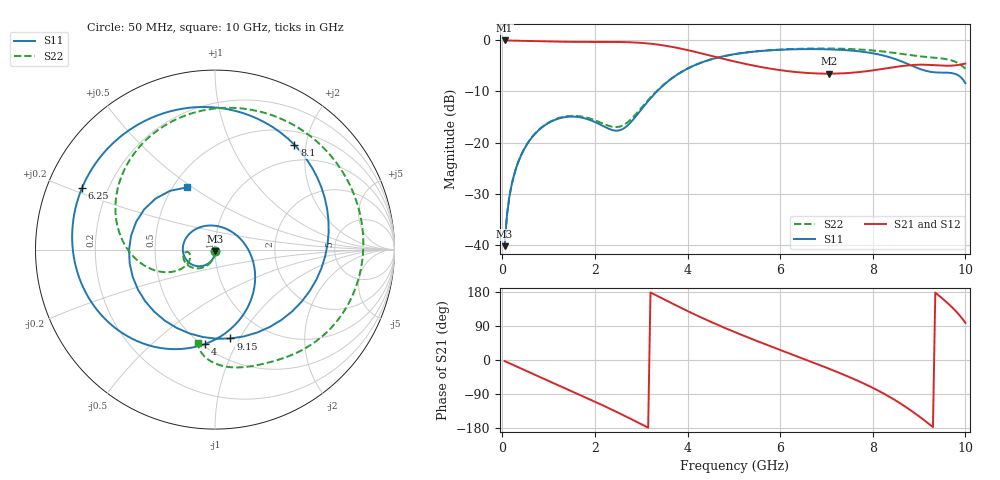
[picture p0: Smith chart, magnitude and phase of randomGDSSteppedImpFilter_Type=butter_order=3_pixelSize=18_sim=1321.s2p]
! freq	dB(S11)	phase(S11)	dB(S12)	phase(S12)
!  dB(S21)	phase(S21)	dB(S22)	phase(S22)
!S-par simulation data
#  GHz  S  DB  R 50
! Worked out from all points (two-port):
!   200 points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, 50 MHz to 10 GHz, reference 50 ohm
!   highest |S21| = -0.02 dB at 50 MHz (marker M1); lowest = -6.5 dB at 7.05 GHz (marker M2)
!   |S21| within 3 dB of the highest: start of sweep to 4.509 GHz
!   lowest |S11| = -40.3 dB at 50 MHz (marker M3), VSWR 1.02, Z = 50.1 - j0.966 ohm
!   |S11| at or under -10 dB: start of sweep to 3.34 GHz
!   |S22| runs from -40.3 to -1.6 dB; largest |S21 - S12| = 0
!   S11 on the Smith chart (normalised r, x): 50 MHz: 1.00, -0.02; 4 GHz: 0.52, -0.76; 6.25 GHz: 0.11, +0.22; 8.1 GHz: 0.71, +1.79; 9.15 GHz: 0.69, -0.92; 10 GHz: 0.59, +0.48
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0.05  -40.29 -86.4  -0.02 -2.8  -0.02 -2.8  -40.26 -86.3
0.2  -28.36 -97.8  -0.05 -11.2  -0.05 -11.2  -28.33 -96.4
0.5  -20.87 -117.6  -0.11 -27.7  -0.11 -27.7  -20.82 -113.9
1.15  -15.52 -158.3  -0.25 -63.3  -0.25 -63.3  -15.43 -146.5
1.75  -15.19 159.0  -0.31 -96.0  -0.31 -96.0  -14.97 -169.7
2.7  -16.71 31.4  -0.35 -150.9  -0.35 -150.9  -16.08 -156.2
3.4  -9.46 -52.5  -0.88 165.8  -0.88 165.8  -9.36 -159.4
4  -5.53 -96.1  -1.90 129.2  -1.90 129.2  -5.53 172.3
4.5  -3.74 -125.2  -3.00 100.9  -3.00 100.9  -3.75 145.4
5.05  -2.65 -152.6  -4.21 72.2  -4.21 72.2  -2.65 116.0
5.65  -2.03 -179.4  -5.33 43.0  -5.33 43.0  -2.01 85.0
6.25  -1.76 154.9  -6.11 14.9  -6.11 14.9  -1.70 55.1
6.7  -1.71 135.0  -6.44 -6.0  -6.44 -6.0  -1.60 33.3
7.05  -1.76 118.4  -6.52 -22.7  -6.52 -22.7  -1.59 16.8
7.6  -2.05 88.2  -6.30 -50.7  -6.30 -50.7  -1.73 -8.2
8.1  -2.70 52.8  -5.75 -79.7  -5.75 -79.7  -2.06 -29.8
8.35  -3.27 30.2  -5.39 -96.4  -5.39 -96.4  -2.32 -39.9
8.75  -4.60 -16.6  -4.90 -127.0  -4.90 -127.0  -2.82 -54.9
9.15  -5.98 -80.1  -4.78 -162.7  -4.78 -162.7  -3.25 -68.4
9.4  -6.29 -125.3  -4.90 172.9  -4.90 172.9  -3.45 -77.3
9.65  -6.35 -170.8  -4.97 146.4  -4.97 146.4  -3.80 -87.3
10  -8.40 114.0  -4.55 98.0  -4.55 98.0  -5.56 -100.2
